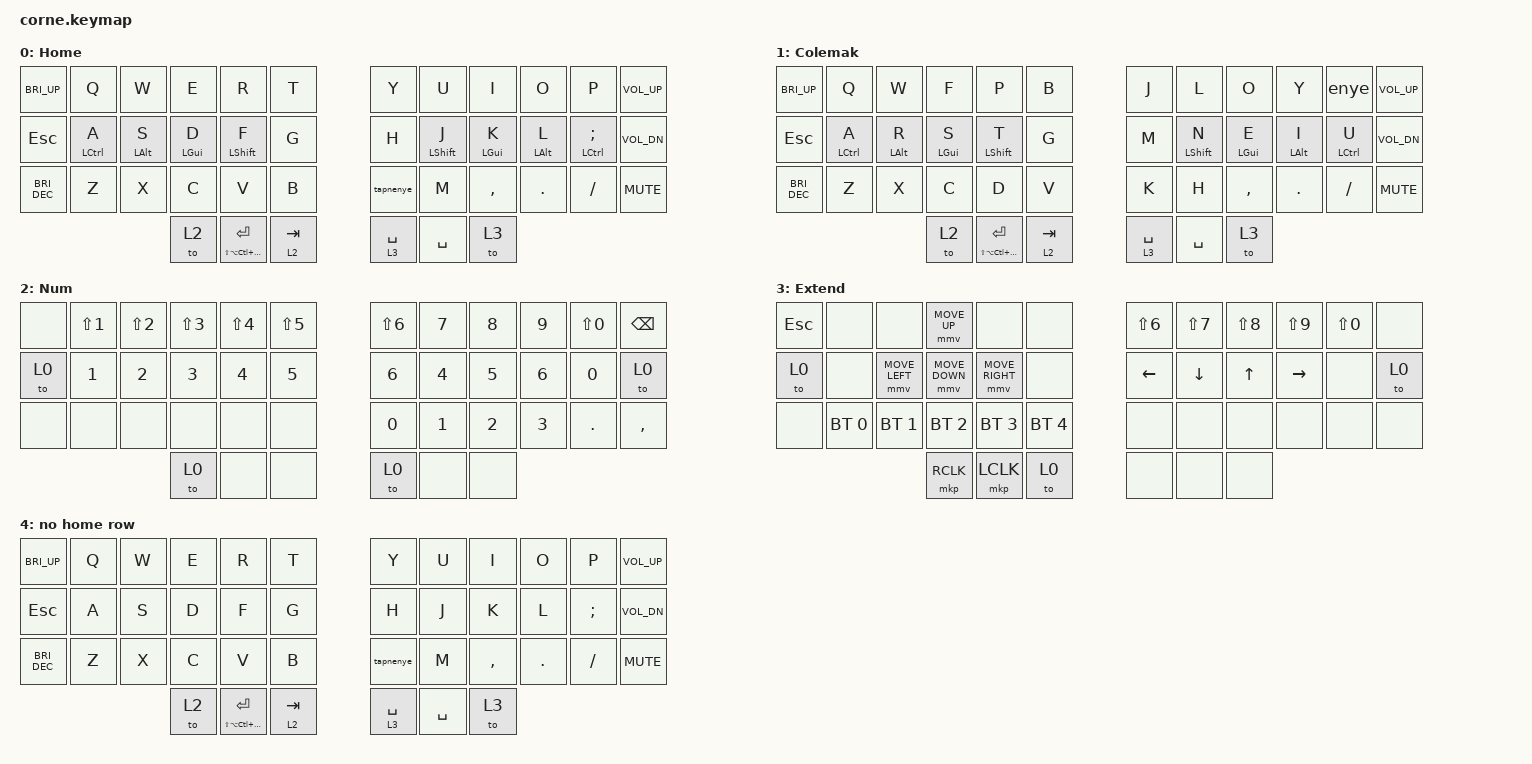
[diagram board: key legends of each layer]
/*
 * Copyright (c) 2020 The ZMK Contributors
 *
 * SPDX-License-Identifier: MIT
 */

#include <behaviors.dtsi>
#include <dt-bindings/zmk/bt.h>
#include <dt-bindings/zmk/keys.h>
#include <dt-bindings/zmk/pointing.h>

#define DEFAULT_L 0
#define SYMBOLS_L 1
#define ARROWS_L  2
#define NUMBERS_L 3

/ {
    behaviors {
        hm: homerow_mods {
            compatible = "zmk,behavior-hold-tap";
            label = "HOMEROW_MODS";
            #binding-cells = <2>;
            tapping-term-ms = <300>;
            quick-tap-ms = <200>;
            flavor = "tap-preferred";
            bindings = <&kp>, <&kp>;
        };

        tapnenye: tapnenye {
            compatible = "zmk,behavior-tap-dance";
            label = "TAPNENYE";
            #binding-cells = <0>;
            bindings = <&kp N>, <&enye>;
        };

        deleteword: deleteword {
            compatible = "zmk,behavior-tap-dance";
            label = "DELETEWORD";
            #binding-cells = <0>;
            bindings = <&kp BACKSPACE>, <&kp LA(BACKSPACE)>;
        };
    };

    combos {
        compatible = "zmk,combos";

        f {
            bindings = <&deleteword>;
            key-positions = <19 20>;
        };

        colemak {
            bindings = <&tog 1>;
            key-positions = <0 11>;
        };

        nomods {
            bindings = <&tog 4>;
            key-positions = <24 35>;
        };
    };

    macros {
        enye: enye {
            compatible = "zmk,behavior-macro";
            #binding-cells = <0>;
            bindings = <&kp LA(N) &kp N>;
            label = "ENYE";
        };
    };

    keymap {
        compatible = "zmk,keymap";

        Mainlayer {
            label = "Home";
            bindings = <
&kp C_BRI_UP   &kp Q               &kp W           &kp E           &kp R                             &kp T        &kp Y        &kp U             &kp I           &kp O           &kp P                  &kp C_VOLUME_UP
&kp ESCAPE     &hm LEFT_CONTROL A  &hm LEFT_ALT S  &hm LEFT_GUI D  &hm LEFT_SHIFT F                  &kp G        &kp H        &hm LEFT_SHIFT J  &hm LEFT_GUI K  &hm LEFT_ALT L  &hm LEFT_CONTROL SEMI  &kp C_VOL_DN
&kp C_BRI_DEC  &kp Z               &kp X           &kp C           &kp V                             &kp B        &tapnenye    &kp M             &kp COMMA       &kp DOT         &kp FSLH               &kp C_MUTE
                                                   &to 2           &mt LS(LA(LC(LG(LEFT_GUI)))) RET  &lt 2 TAB    &lt 3 SPACE  &kp SPACE         &to 3
            >;
        };

        Colemak {
            label = "Colemak";
            bindings = <
&kp C_BRI_UP   &kp Q               &kp W           &kp F           &kp P                             &kp B        &kp J        &kp L             &kp O           &kp Y           &enye               &kp C_VOLUME_UP
&kp ESCAPE     &hm LEFT_CONTROL A  &hm LEFT_ALT R  &hm LEFT_GUI S  &hm LEFT_SHIFT T                  &kp G        &kp M        &hm LEFT_SHIFT N  &hm LEFT_GUI E  &hm LEFT_ALT I  &hm LEFT_CONTROL U  &kp C_VOL_DN
&kp C_BRI_DEC  &kp Z               &kp X           &kp C           &kp D                             &kp V        &kp K        &kp H             &kp COMMA       &kp DOT         &kp FSLH            &kp C_MUTE
                                                   &to 2           &mt LS(LA(LC(LG(LEFT_GUI)))) RET  &lt 2 TAB    &lt 3 SPACE  &kp SPACE         &to 3
            >;
        };

        number_layer {
            label = "Num";
            bindings = <
&none  &kp LS(N1)    &kp LS(N2)    &kp LS(N3)    &kp LS(N4)    &kp LS(N5)    &kp LS(N6)    &kp N7        &kp N8        &kp N9        &kp LS(N0)  &kp BACKSPACE
&to 0  &kp NUMBER_1  &kp NUMBER_2  &kp NUMBER_3  &kp NUMBER_4  &kp N5        &kp NUMBER_6  &kp NUMBER_4  &kp N5        &kp NUMBER_6  &kp N0      &to 0
&none  &none         &none         &none         &none         &none         &kp N0        &kp NUMBER_1  &kp NUMBER_2  &kp NUMBER_3  &kp PERIOD  &kp COMMA
                                   &to 0         &none         &none         &to 0         &none         &none
            >;
        };

        Extend {
            label = "Extend";
            bindings = <
&kp ESC  &none         &none           &mmv MOVE_UP    &none            &none           &kp LS(N6)      &kp LS(N7)      &kp LS(N8)    &kp LS(N9)  &kp LS(N0)  &none
&to 0    &none         &mmv MOVE_LEFT  &mmv MOVE_DOWN  &mmv MOVE_RIGHT  &none           &kp LEFT_ARROW  &kp DOWN_ARROW  &kp UP_ARROW  &kp RIGHT   &none       &to 0
&none    &bt BT_SEL 0  &bt BT_SEL 1    &bt BT_SEL 2    &bt BT_SEL 3     &bt BT_SEL 4    &none           &none           &none         &none       &none       &none
                                       &mkp RCLK       &mkp LCLK        &to 0           &none           &none           &none
            >;
        };

        layer_4 {
            label = "no home row";
            bindings = <
&kp C_BRI_UP   &kp Q  &kp W  &kp E  &kp R                             &kp T        &kp Y        &kp U      &kp I      &kp O    &kp P          &kp C_VOLUME_UP
&kp ESCAPE     &kp A  &kp S  &kp D  &kp F                             &kp G        &kp H        &kp J      &kp K      &kp L    &kp SEMICOLON  &kp C_VOL_DN
&kp C_BRI_DEC  &kp Z  &kp X  &kp C  &kp V                             &kp B        &tapnenye    &kp M      &kp COMMA  &kp DOT  &kp FSLH       &kp C_MUTE
                             &to 2  &mt LS(LA(LC(LG(LEFT_GUI)))) RET  &lt 2 TAB    &lt 3 SPACE  &kp SPACE  &to 3
            >;
        };
    };
};
